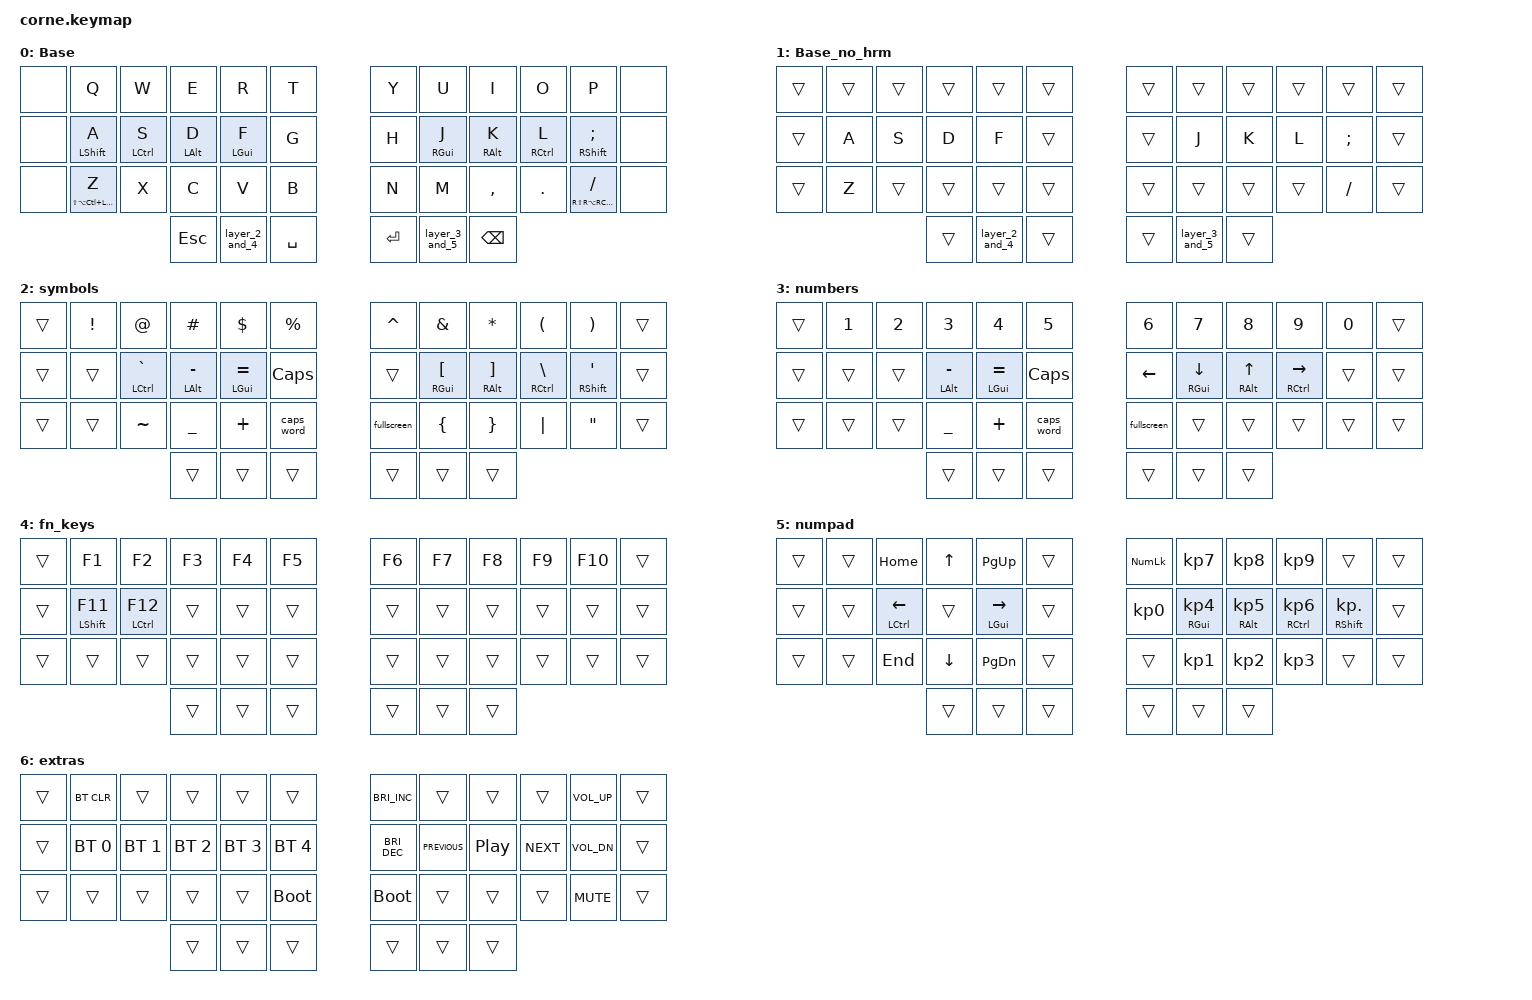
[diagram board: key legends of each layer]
/*
 * Copyright (c) 2020 The ZMK Contributors
 *
 * SPDX-License-Identifier: MIT
 */

#include <behaviors.dtsi>
#include <dt-bindings/zmk/bt.h>
#include <dt-bindings/zmk/keys.h>

/ {
    behaviors {
        HRM: HRM {
            compatible = "zmk,behavior-hold-tap";
            label = "HRM";
            bindings = <&kp>, <&kp>;

            #binding-cells = <2>;
            tapping-term-ms = <220>;
            quick-tap-ms = <180>;
            flavor = "balanced";
            hold-while-undecided;
        };

        layer_2_and_4: layer_2_and_4 {
            compatible = "zmk,behavior-tap-dance";
            label = "LAYER_2_AND_4";
            #binding-cells = <0>;
            bindings = <&mo 2>, <&mo 4>;

            tapping-term-ms = <220>;
        };

        layer_3_and_5: layer_3_and_5 {
            compatible = "zmk,behavior-tap-dance";
            label = "LAYER_3_AND_5";
            #binding-cells = <0>;
            bindings = <&mo 3>, <&mo 5>;

            tapping-term-ms = <220>;
        };
    };

    conditional_layers {
        compatible = "zmk,conditional-layers";

        extras {
            if-layers = <2 3>;
            then-layer = <6>;
        };
    };

    macros {
        fullscreen: fullscreen {
            compatible = "zmk,behavior-macro";
            #binding-cells = <0>;
            bindings =
                <&macro_press>,
                <&kp GLOBE>,
                <&macro_press>,
                <&kp LCTRL>,
                <&macro_tap>,
                <&kp F>,
                <&macro_release>,
                <&kp LCTRL>,
                <&macro_release>,
                <&kp GLOBE>;

            label = "FULLSCREEN";
        };
    };

    combos {
        compatible = "zmk,combos";

        tab {
            bindings = <&kp TAB>;
            key-positions = <26 27>;
        };

        enter {
            bindings = <&kp ENTER>;
            key-positions = <32 33>;
        };

        delete {
            bindings = <&kp DELETE>;
            key-positions = <33 34>;
        };

        toggle_hrm {
            bindings = <&tog 1>;
            key-positions = <36 41>;
            layers = <0 1>;
        };
    };

    keymap {
        compatible = "zmk,keymap";

        default_layer {
            display-name = "Base";
            bindings = <
&none  &kp Q                        &kp W         &kp E            &kp R            &kp T        &kp Y    &kp U             &kp I             &kp O                 &kp P                            &none
&none  &HRM LEFT_SHIFT A            &HRM LCTRL S  &HRM LEFT_ALT D  &HRM LEFT_GUI F  &kp G        &kp H    &HRM RIGHT_GUI J  &HRM RIGHT_ALT K  &HRM RIGHT_CONTROL L  &HRM RIGHT_SHIFT SEMI            &none
&none  &HRM LS(LA(LC(LEFT_GUI))) Z  &kp X         &kp C            &kp V            &kp B        &kp N    &kp M             &kp COMMA         &kp DOT               &HRM RS(RA(RC(RIGHT_GUI))) FSLH  &none
                                                  &kp ESCAPE       &layer_2_and_4   &kp SPACE    &kp RET  &layer_3_and_5    &kp BACKSPACE
            >;
        };

        base_no_hrm {
            display-name = "Base_no_hrm";
            bindings = <
&trans  &trans  &trans  &trans  &trans          &trans    &trans  &trans          &trans  &trans  &trans    &trans
&trans  &kp A   &kp S   &kp D   &kp F           &trans    &trans  &kp J           &kp K   &kp L   &kp SEMI  &trans
&trans  &kp Z   &trans  &trans  &trans          &trans    &trans  &trans          &trans  &trans  &kp FSLH  &trans
                        &trans  &layer_2_and_4  &trans    &trans  &layer_3_and_5  &trans
            >;
        };

        symbols {
            display-name = "symbols";
            bindings = <
&trans  &kp EXCLAMATION  &kp AT            &kp POUND            &kp DLLR             &kp PRCNT       &kp CARET    &kp AMPS                     &kp STAR                      &kp LPAR                      &kp RPAR                       &trans
&trans  &trans           &HRM LCTRL GRAVE  &HRM LEFT_ALT MINUS  &HRM LEFT_GUI EQUAL  &kp CAPSLOCK    &trans       &HRM RIGHT_GUI LEFT_BRACKET  &HRM RIGHT_ALT RIGHT_BRACKET  &HRM RIGHT_CONTROL BACKSLASH  &HRM RIGHT_SHIFT SINGLE_QUOTE  &trans
&trans  &trans           &kp TILDE         &kp UNDER            &kp PLUS             &caps_word      &fullscreen  &kp LEFT_BRACE               &kp RIGHT_BRACE               &kp PIPE                      &kp DOUBLE_QUOTES              &trans
                                           &trans               &trans               &trans          &trans       &trans                       &trans
            >;
        };

        numbers {
            display-name = "numbers";
            bindings = <
&trans  &kp N1  &kp N2  &kp N3               &kp N4               &kp N5          &kp N6          &kp N7               &kp N8                   &kp N9                    &kp N0  &trans
&trans  &trans  &trans  &HRM LEFT_ALT MINUS  &HRM LEFT_GUI EQUAL  &kp CAPSLOCK    &kp LEFT_ARROW  &HRM RIGHT_GUI DOWN  &HRM RIGHT_ALT UP_ARROW  &HRM RIGHT_CONTROL RIGHT  &trans  &trans
&trans  &trans  &trans  &kp UNDER            &kp PLUS             &caps_word      &fullscreen     &trans               &trans                   &trans                    &trans  &trans
                        &trans               &trans               &trans          &trans          &trans               &trans
            >;
        };

        fn_keys {
            display-name = "fn_keys";
            bindings = <
&trans  &kp F1               &kp F2          &kp F3  &kp F4  &kp F5    &kp F6  &kp F7  &kp F8  &kp F9  &kp F10  &trans
&trans  &HRM LEFT_SHIFT F11  &HRM LCTRL F12  &trans  &trans  &trans    &trans  &trans  &trans  &trans  &trans   &trans
&trans  &trans               &trans          &trans  &trans  &trans    &trans  &trans  &trans  &trans  &trans   &trans
                                             &trans  &trans  &trans    &trans  &trans  &trans
            >;
        };

        numpad {
            display-name = "numpad";
            bindings = <
&trans  &trans  &kp HOME               &kp UP_ARROW    &kp PAGE_UP                &trans    &kp KP_NUMLOCK   &kp KP_N7             &kp KP_N8             &kp KP_N9                 &trans                   &trans
&trans  &trans  &HRM LCTRL LEFT_ARROW  &trans          &HRM LEFT_GUI RIGHT_ARROW  &trans    &kp KP_NUMBER_0  &HRM RIGHT_GUI KP_N4  &HRM RIGHT_ALT KP_N5  &HRM RIGHT_CONTROL KP_N6  &HRM RIGHT_SHIFT KP_DOT  &trans
&trans  &trans  &kp END                &kp DOWN_ARROW  &kp PAGE_DOWN              &trans    &trans           &kp KP_N1             &kp KP_N2             &kp KP_N3                 &trans                   &trans
                                       &trans          &trans                     &trans    &trans           &trans                &trans
            >;
        };

        extras {
            display-name = "extras";
            bindings = <
&trans  &bt BT_CLR    &trans        &trans        &trans        &trans          &kp C_BRIGHTNESS_INC  &trans          &trans            &trans      &kp C_VOL_UP  &trans
&trans  &bt BT_SEL 0  &bt BT_SEL 1  &bt BT_SEL 2  &bt BT_SEL 3  &bt BT_SEL 4    &kp C_BRIGHTNESS_DEC  &kp C_PREVIOUS  &kp C_PLAY_PAUSE  &kp C_NEXT  &kp C_VOL_DN  &trans
&trans  &trans        &trans        &trans        &trans        &bootloader     &bootloader           &trans          &trans            &trans      &kp C_MUTE    &trans
                                    &trans        &trans        &trans          &trans                &trans          &trans
            >;
        };
    };
};
